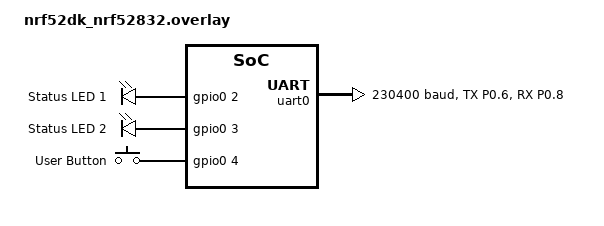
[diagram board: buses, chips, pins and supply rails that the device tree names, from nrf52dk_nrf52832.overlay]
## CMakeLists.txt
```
cmake_minimum_required(VERSION 3.20.0)
find_package(Zephyr REQUIRED HINTS $ENV{ZEPHYR_BASE})

project(Day6)

target_sources(app PRIVATE
    src/main.c
    src/nus.c
)
```

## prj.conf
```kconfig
# # Enable Bluetooth
# CONFIG_BT=y
# CONFIG_BT_PERIPHERAL=y
# CONFIG_BT_DEVICE_NAME="Day6_NUS"
# CONFIG_BT_MAX_CONN=1

# # Log
# CONFIG_LOG=y
# CONFIG_USE_SEGGER_RTT=y

# # Ring Buffer support
# CONFIG_RING_BUFFER=y

# # 增加 BLE 缓冲区和 MTU 以支持高速透传
# CONFIG_BT_L2CAP_TX_MTU=247
# CONFIG_BT_BUF_ACL_RX_SIZE=251
# CONFIG_BT_BUF_ACL_TX_SIZE=251
# CONFIG_BT_CTLR_DATA_LENGTH_MAX=251

# # 增加堆栈大小以防 WorkQueue 溢出
# CONFIG_SYSTEM_WORKQUEUE_STACK_SIZE=2048
# CONFIG_MAIN_STACK_SIZE=2048

# # 开启 GATT Client，这样设备才能主动调用 bt_gatt_exchange_mtu 发起 MTU 交换
# CONFIG_BT_GATT_CLIENT=y

# # 开启数据长度更新功能，这样才能调用 bt_conn_le_data_len_update
# CONFIG_BT_DATA_LEN_UPDATE=y
# CONFIG_BT_USER_DATA_LEN_UPDATE=y

# ================= BLE 配置 =================
CONFIG_BT=y
CONFIG_BT_PERIPHERAL=y
CONFIG_BT_DEVICE_NAME="Day7_NUS"
CONFIG_BT_MAX_CONN=1

# 启用 GATT Client 和 DLE (Data Length Extension) 以支持更高吞吐
CONFIG_BT_GATT_CLIENT=y
CONFIG_BT_DATA_LEN_UPDATE=y
CONFIG_BT_USER_DATA_LEN_UPDATE=y

# 增加 BLE 缓冲区大小 (NUS 高速传输必备)
CONFIG_BT_BUF_ACL_RX_SIZE=251
CONFIG_BT_BUF_ACL_TX_SIZE=251
CONFIG_BT_L2CAP_TX_MTU=247
CONFIG_BT_CTLR_DATA_LENGTH_MAX=251

# ================= UART & RingBuffer =================
CONFIG_RING_BUFFER=y
# 确保串口驱动开启
CONFIG_SERIAL=y
CONFIG_UART_INTERRUPT_DRIVEN=y

# ================= Log & Console 配置 (核心修改) =================
CONFIG_LOG=y

# 1. 禁用 UART 作为 Log 后端 (释放 UART 给 NUS 用)
CONFIG_LOG_BACKEND_UART=n
CONFIG_UART_CONSOLE=n

# 2. 启用 RTT 作为 Log 后端 (通过 J-Link 查看日志)
CONFIG_USE_SEGGER_RTT=y
CONFIG_LOG_BACKEND_RTT=y
CONFIG_RTT_CONSOLE=y

# ================= 系统配置 =================
# 增加 System Workqueue 堆栈，防止处理大量 NUS 数据时溢出
CONFIG_SYSTEM_WORKQUEUE_STACK_SIZE=2048
CONFIG_MAIN_STACK_SIZE=2048

# 增加到 10 或更多，可以容纳更多的小包突发
CONFIG_BT_BUF_ACL_TX_COUNT=10

# 增加 L2CAP 层面的 Buffer 数量
CONFIG_BT_L2CAP_TX_BUF_COUNT=10

CONFIG_BT_PHY_UPDATE=y
CONFIG_BT_USER_PHY_UPDATE=y

CONFIG_BT_RX_STACK_SIZE=2048
CONFIG_LOG_DEFAULT_LEVEL=0
```

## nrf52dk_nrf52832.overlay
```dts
/ {
    /* 定义 LED (保持不变) */
    my_leds {
        compatible = "gpio-leds";
        led_custom_1: led_1 {
            gpios = <&gpio0 2 GPIO_ACTIVE_HIGH>;
            label = "Status LED 1";
        };
        led_custom_2: led_2 {
            gpios = <&gpio0 3 GPIO_ACTIVE_HIGH>;
            label = "Status LED 2";
        };
    };

    /* Day 5 新增: 定义按键 */
    buttons {
        compatible = "gpio-keys";
        
        /* 
         * Button 0 (P0.04)
         * GPIO_ACTIVE_HIGH: 按下为高电平
         * GPIO_PULL_DOWN:   关键！松开时内部拉低，防止悬空
         */
        button_custom: button_0 {
            gpios = <&gpio0 4 (GPIO_ACTIVE_HIGH | GPIO_PULL_DOWN)>;
            label = "User Button";
        };
    };

    /* 修改别名 */
    aliases {
        led0 = &led_custom_1;
        led1 = &led_custom_2;
        sw0  = &button_custom; /* 将系统标准别名 sw0 映射到我们的自定义按键 */
    };
    
};
/* 强制配置 uart0 的引脚，确保与你的接线一致 */
&uart0 {
    compatible = "nordic,nrf-uarte";
    status = "okay";
    current-speed = <230400>;
    pinctrl-0 = <&uart0_default>;
    pinctrl-1 = <&uart0_sleep>;
    pinctrl-names = "default", "sleep";
};

/* 定义引脚映射: RX=P0.08, TX=P0.06 */
&pinctrl {
    uart0_default: uart0_default {
        group1 {
            psels = <NRF_PSEL(UART_TX, 0, 6)>,
                    <NRF_PSEL(UART_RX, 0, 8)>;
        };
    };

    uart0_sleep: uart0_sleep {
        group1 {
            psels = <NRF_PSEL(UART_TX, 0, 6)>,
                    <NRF_PSEL(UART_RX, 0, 8)>;
            low-power-enable;
        };
    };
};
```

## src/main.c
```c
/*
 * Day 6 Task: NUS Throughput & Ring Buffer Management
 * Author: BLE Learner
 * Environment: nRF52832, NCS v2.7.0
 */

#include <zephyr/kernel.h>
#include <zephyr/device.h>
#include <zephyr/drivers/uart.h>
#include <zephyr/drivers/gpio.h>
#include <zephyr/bluetooth/bluetooth.h>
#include <zephyr/bluetooth/hci.h>
#include <zephyr/bluetooth/conn.h>
#include <zephyr/bluetooth/uuid.h>
#include <zephyr/bluetooth/gatt.h>
#include <zephyr/sys/ring_buffer.h>
#include <zephyr/logging/log.h>

#include "nus.h"

LOG_MODULE_REGISTER(main, LOG_LEVEL_ERR);

/* ----------------配置部分---------------- */
#define UART_BUF_SIZE     8192   // UART 接收环形缓冲区大小
#define BLE_MTU_MAX       247    // 期望的 MTU 大小 (需要在 prj.conf 中同时也配置)
#define WORK_RETRY_DELAY  K_MSEC(10) // 如果 BLE 缓冲区满，多久后重试

/* ----------------硬件定义---------------- */
/* 获取 Overlay 中定义的别名 */
static const struct gpio_dt_spec led_conn = GPIO_DT_SPEC_GET(DT_ALIAS(led0), gpios);
static const struct gpio_dt_spec led_act  = GPIO_DT_SPEC_GET(DT_ALIAS(led1), gpios);

/* 获取默认 Console UART 设备 (通常是 uart0) */
/* 直接获取设备树中的 uart0 节点 */
static const struct device *uart_dev = DEVICE_DT_GET(DT_NODELABEL(uart0));

/* ----------------全局变量---------------- */
/* 定义环形缓冲区 */
RING_BUF_DECLARE(uart_ring_buf, UART_BUF_SIZE);

/* 定义处理 BLE 发送的工作项 (Delayed Work 用于重试机制) */
static struct k_work_delayable ble_tx_work;

/* 当前 BLE 连接句柄 */
static struct bt_conn *current_conn;
static uint16_t current_mtu = 23; // 默认 MTU，连接后会更新

/* ----------------函数声明---------------- */
static void uart_cb(const struct device *dev, void *user_data);
static void ble_tx_work_handler(struct k_work *work);
/* 连接参数更新回调 */
static void le_param_updated(struct bt_conn *conn, uint16_t interval,
                              uint16_t latency, uint16_t timeout)
{
    LOG_INF("Connection params updated: interval=%d, latency=%d, timeout=%d",
            interval, latency, timeout);
}
/* MTU 交换完成后的回调 */
static void exchange_func(struct bt_conn *conn, uint8_t att_err,
                          struct bt_gatt_exchange_params *params)
{
    if (!att_err) {
        /* 更新全局变量，RingBuffer 消费者将立即开始打包更多数据 */
        current_mtu = bt_gatt_get_mtu(conn);
        LOG_INF("MTU exchange successful, new MTU: %d", current_mtu);
    } else {
        LOG_ERR("MTU exchange failed (err %d)", att_err);
    }
}

/* 定义 MTU 交换参数结构体 */
static struct bt_gatt_exchange_params exchange_params = {
    .func = exchange_func,
};
/* ============================================================
 *  UART 处理逻辑 (生产者)
 * ============================================================ */

/* UART 初始化 */
static int uart_init(void)
{
    if (!device_is_ready(uart_dev)) {
        LOG_ERR("UART device not ready");
        return -1;
    }

    LOG_INF("UART device: %s", uart_dev->name);

    /* 配置中断回调 */
    uart_irq_callback_user_data_set(uart_dev, uart_cb, NULL);
    uart_irq_rx_enable(uart_dev);

    LOG_INF("UART initialized and RX interrupt enabled");

    return 0;
}

/* UART 中断回调函数 */
static void uart_cb(const struct device *dev, void *user_data)
{
    uint8_t recv_buf[64];
    int recv_len;

    uart_irq_update(dev);

    if (uart_irq_rx_ready(dev)) {
        /* 从硬件 FIFO 读取数据 */
        recv_len = uart_fifo_read(dev, recv_buf, sizeof(recv_buf));
        
        if (recv_len > 0) {
            LOG_DBG("UART RX: %d bytes", recv_len);
            
            /* 
             * 关键点：将数据放入 RingBuffer 
             * RingBuffer 是 ISR 和 WorkQueue 之间的桥梁
             */
            int written = ring_buf_put(&uart_ring_buf, recv_buf, recv_len);
            
            if (written < recv_len) {
                LOG_WRN("RingBuffer Full! Dropped %d bytes", recv_len - written);
            }

            /* 触发 System Work Queue 进行 BLE 发送处理 */
            /* 使用 k_work_schedule 如果是 delayable work */

            k_work_schedule(&ble_tx_work, K_MSEC(1)); 
            
            /* 闪烁 LED 表示有 Activity */
            gpio_pin_toggle_dt(&led_act);
        }
    }
}

/* ============================================================
 *  BLE 处理逻辑 (消费者)
 * ============================================================ */

/* 
 * 核心任务：从 RingBuffer 取数据发给 BLE
 * 包含了流控逻辑：如果 BLE 返回忙，则不消耗 Buffer，稍后重试。
 */
static void ble_tx_work_handler(struct k_work *work)
{
    uint8_t *data_ptr;
    uint32_t len;
    int err;

    if (!current_conn) {
        // 如果没有连接，丢弃缓冲区数据，防止溢出
        ring_buf_reset(&uart_ring_buf);
        return;
    }

    /* 循环处理，直到 Buffer 为空或 BLE 缓冲区满 */
    while (1) {
        /* 
         * 1. 获取 Buffer 中的数据指针（Claim），但不立即移除(Consume)
         *    这样如果发送失败，我们只需取消 Claim，数据还在 Buffer 中
         */
        len = ring_buf_get_claim(&uart_ring_buf, &data_ptr, current_mtu - 3);
        
        if (len == 0) {
            // Buffer 空了，退出任务
            ring_buf_get_finish(&uart_ring_buf, 0);
            break; 
        }

        LOG_DBG("BLE TX: sending %d bytes", len);

        /* 3. 尝试通过 BLE 发送 */
        err = my_nus_send(current_conn, data_ptr, len);

        if (err == -EAGAIN || err == -ENOMEM) {
            /* 
             * 重点流控逻辑：
             * 发送失败（资源不足），说明协议栈 Buffer 满了。
             * 1. 释放 Claim，告诉 RingBuffer 我们没消费任何数据 (size = 0)。
             * 2. 调度延时任务，稍后再试。
             */
            ring_buf_get_finish(&uart_ring_buf, 0); 
            LOG_DBG("BLE Stack Full, retrying later...");
            k_work_schedule(&ble_tx_work, WORK_RETRY_DELAY);
            break; // 跳出循环，让出 CPU
        } else if (err < 0) {
            /* 其他错误，可能是连接断开等，消费掉数据以免死循环 */
            LOG_ERR("BLE Send Error: %d", err);
            ring_buf_get_finish(&uart_ring_buf, len);
        } else {
            /* 
             * 发送成功：
             * 确认消费掉已发送的 len 长度
             */
            LOG_DBG("BLE TX: sent %d bytes successfully", len);
            ring_buf_get_finish(&uart_ring_buf, len);
        }
    }
}

/* NUS 接收到手机数据回调 */
static void nus_received_cb(struct bt_conn *conn, const uint8_t *data, uint16_t len)
{
    /* 直接透传回 UART TX */
    /* 注意：uart_poll_out 是阻塞函数，高速大量数据时建议也用 RingBuffer + TX ISR */
    /* 但对于 Day 6 任务，RX (手机到设备) 数据量通常较小，此处简化处理 */
    for (int i = 0; i < len; i++) {
        uart_poll_out(uart_dev, data[i]);
    }
    gpio_pin_toggle_dt(&led_act);
}

/* NUS 初始化结构体 */
static struct my_nus_cb nus_callbacks = {
    .received = nus_received_cb,
    .send_enabled = NULL,
};

/* ============================================================
 *  BLE 连接管理
 * ============================================================ */


static void connected(struct bt_conn *conn, uint8_t err)
{
    if (err) {
        LOG_ERR("Connection failed (err 0x%02x)", err);
        return;
    }

    LOG_INF("Connected");
    current_conn = bt_conn_ref(conn);
    gpio_pin_set_dt(&led_conn, 1);

    /* --- Day 7 新增逻辑 --- */

    /* 1. 发起 MTU 交换请求 */
    /* 注意：有些手机作为 Master 会主动发起，但作为 Slave 主动请求更保险 */
    int ret = bt_gatt_exchange_mtu(conn, &exchange_params);
    if (ret) {
        LOG_WRN("MTU exchange request failed (err %d)", ret);
    }

    /* 2. 请求切换到 2M PHY */
    /* 建议稍微延时一下再请求，避免连接建立初期的拥堵，或者直接请求也可 */
    const struct bt_conn_le_phy_param preferred_phy = {
        .options = BT_CONN_LE_PHY_OPT_NONE,
        .pref_tx_phy = BT_GAP_LE_PHY_2M,
        .pref_rx_phy = BT_GAP_LE_PHY_2M,
    };
    ret = bt_conn_le_phy_update(conn, &preferred_phy);
    if (ret) {
        LOG_WRN("PHY update request failed (err %d)", ret);
    }
}

static void disconnected(struct bt_conn *conn, uint8_t reason)
{
    LOG_INF("Disconnected (reason 0x%02x)", reason);
    if (current_conn) {
        bt_conn_unref(current_conn);
        current_conn = NULL;
    }
    gpio_pin_set_dt(&led_conn, 0); // LED 灭
}

/* 3. 在连接回调中添加参数更新回调 */
BT_CONN_CB_DEFINE(conn_callbacks) = {
    .connected = connected,
    .disconnected = disconnected,
    .le_param_updated = le_param_updated,
};

/* ============================================================
 *  主函数
 * ============================================================ */

static const struct bt_data ad[] = {
    BT_DATA_BYTES(BT_DATA_FLAGS, (BT_LE_AD_GENERAL | BT_LE_AD_NO_BREDR)),
    BT_DATA_BYTES(BT_DATA_UUID128_ALL, MY_NUS_UUID_SERVICE_VAL),
};

static const struct bt_data sd[] = {
    BT_DATA(BT_DATA_NAME_COMPLETE, CONFIG_BT_DEVICE_NAME, sizeof(CONFIG_BT_DEVICE_NAME) - 1),
};

int main(void)
{
    int err;

    /* 1. 硬件初始化 */
    if (!gpio_is_ready_dt(&led_conn) || !gpio_is_ready_dt(&led_act)) {
        return 0;
    }
    gpio_pin_configure_dt(&led_conn, GPIO_OUTPUT_INACTIVE);
    gpio_pin_configure_dt(&led_act, GPIO_OUTPUT_INACTIVE);
    
    err = uart_init();
    if (err) return 0;

    /* 初始化 WorkQueue 任务 */
    k_work_init_delayable(&ble_tx_work, ble_tx_work_handler);

    /* 2. BLE 初始化 */
    err = bt_enable(NULL);
    if (err) {
        LOG_ERR("Bluetooth init failed (err %d)", err);
        return 0;
    }
    err = my_nus_init(&nus_callbacks);
    if (err) {
        LOG_ERR("NUS init failed (err %d)", err);
        return 0;
    }

    LOG_INF("Bluetooth initialized, starting advertising...");

    /* 3. 开始广播 */
    err = bt_le_adv_start(BT_LE_ADV_CONN, ad, ARRAY_SIZE(ad), sd, ARRAY_SIZE(sd));
    if (err) {
        LOG_ERR("Advertising failed to start (err %d)", err);
        return 0;
    }

    /* 主循环空转，工作都在 ISR 和 WorkQueue 中 */
    while (1) {
        k_sleep(K_FOREVER);
    }
    return 0;
}
```

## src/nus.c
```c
/*
 * Module: My NUS Implementation
 * Description: 实现 NUS GATT 服务
 */

#include <zephyr/kernel.h>
#include <zephyr/bluetooth/bluetooth.h>
#include <zephyr/bluetooth/gatt.h>
#include <zephyr/logging/log.h>

#include "nus.h"

LOG_MODULE_REGISTER(my_nus, LOG_LEVEL_ERR);

static struct my_nus_cb nus_cb;

/* TX Characteristic (Notify) 的配置改变回调 (CCC Write) */
static void on_cccd_changed(const struct bt_gatt_attr *attr, uint16_t value)
{
    bool notif_enabled = (value == BT_GATT_CCC_NOTIFY);
    LOG_INF("NUS Notifications %s", notif_enabled ? "enabled" : "disabled");
}

/* RX Characteristic (Write) 的写入回调 */
static ssize_t on_receive_data(struct bt_conn *conn, const struct bt_gatt_attr *attr,
                               const void *buf, uint16_t len, uint16_t offset,
                               uint8_t flags)
{
    LOG_DBG("Received %d bytes", len);
    if (nus_cb.received) {
        nus_cb.received(conn, buf, len);
    }
    return len;
}

/* 
 * 定义 GATT 服务 
 * 结构：
 * 1. Primary Service 声明
 * 2. RX Characteristic (Write | Write Without Response)
 * 3. TX Characteristic (Notify) + CCC (Client Characteristic Configuration)
 */
BT_GATT_SERVICE_DEFINE(my_nus_svc,
    BT_GATT_PRIMARY_SERVICE(BT_UUID_MY_NUS_SERVICE),

    /* RX: 手机写入数据到这里 */
    BT_GATT_CHARACTERISTIC(BT_UUID_MY_NUS_RX,
                           BT_GATT_CHRC_WRITE | BT_GATT_CHRC_WRITE_WITHOUT_RESP,
                           BT_GATT_PERM_WRITE,
                           NULL, on_receive_data, NULL),

    /* TX: 设备通知数据给手机 */
    BT_GATT_CHARACTERISTIC(BT_UUID_MY_NUS_TX,
                           BT_GATT_CHRC_NOTIFY,
                           BT_GATT_PERM_NONE, 
                           NULL, NULL, NULL),
    
    /* TX 的 CCC 描述符，允许手机开启/关闭通知 */
    BT_GATT_CCC(on_cccd_changed, BT_GATT_PERM_READ | BT_GATT_PERM_WRITE),
);

int my_nus_init(struct my_nus_cb *callbacks)
{
    if (!callbacks) {
        return -EINVAL;
    }
    nus_cb = *callbacks;
    return 0;
}

int my_nus_send(struct bt_conn *conn, const uint8_t *data, uint16_t len)
{
    int err;
    
    LOG_DBG("my_nus_send: conn=%p, len=%d", (void *)conn, len);
    
    /* 使用 bt_gatt_notify_uuid 发送数据 */
    err = bt_gatt_notify_uuid(conn, BT_UUID_MY_NUS_TX, NULL, data, len);
    
    if (err) {
        LOG_ERR("bt_gatt_notify_uuid failed: %d", err);
    }
    
    return err;
}
```

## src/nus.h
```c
/*
 * Copyright (c) 2024 Learning BLE
 * Module: NUS (Nordic UART Service)
 * Description: 手动实现 NUS 服务头文件，用于声明 API 和 UUID
 */

#ifndef NUS_H_
#define NUS_H_

#include <zephyr/types.h>
#include <zephyr/bluetooth/conn.h>
#include <zephyr/bluetooth/uuid.h>
#include <zephyr/bluetooth/gatt.h>

/** @brief NUS Service UUID: 6E400001-B5A3-F393-E0A9-E50E24DCCA9E */
#define MY_NUS_UUID_SERVICE_VAL \
    BT_UUID_128_ENCODE(0x6E400001, 0xB5A3, 0xF393, 0xE0A9, 0xE50E24DCCA9E)

/** @brief NUS RX Characteristic UUID (Write): ...0002... */
#define MY_NUS_UUID_RX_VAL \
    BT_UUID_128_ENCODE(0x6E400002, 0xB5A3, 0xF393, 0xE0A9, 0xE50E24DCCA9E)

/** @brief NUS TX Characteristic UUID (Notify): ...0003... */
#define MY_NUS_UUID_TX_VAL \
    BT_UUID_128_ENCODE(0x6E400003, 0xB5A3, 0xF393, 0xE0A9, 0xE50E24DCCA9E)

#define BT_UUID_MY_NUS_SERVICE  BT_UUID_DECLARE_128(MY_NUS_UUID_SERVICE_VAL)
#define BT_UUID_MY_NUS_RX       BT_UUID_DECLARE_128(MY_NUS_UUID_RX_VAL)
#define BT_UUID_MY_NUS_TX       BT_UUID_DECLARE_128(MY_NUS_UUID_TX_VAL)

/**
 * @brief 收到数据时的回调函数定义
 * @param conn 连接句柄
 * @param data 接收到的数据指针
 * @param len 数据长度
 */
typedef void (*my_nus_received_cb_t)(struct bt_conn *conn, const uint8_t *data, uint16_t len);

/**
 * @brief NUS 初始化配置结构体
 */
struct my_nus_cb {
    my_nus_received_cb_t received;  /**< 当手机发数据给设备时调用 */
    void (*send_enabled)(void);     /**< 当手机订阅了 TX 通知时调用 (可选) */
};

/**
 * @brief 初始化 NUS 服务
 * @param callbacks 回调函数结构体
 * @return 0 成功, 负数 失败
 */
int my_nus_init(struct my_nus_cb *callbacks);

/**
 * @brief 发送数据给手机 (通过 Notify)
 * @param conn 连接对象 (NULL 则广播给所有已连接且订阅的设备，通常 NUS 是一对一)
 * @param data 数据指针
 * @param len 数据长度
 * @return 0 成功, -ENOMEM/-EAGAIN 缓冲区满
 */
int my_nus_send(struct bt_conn *conn, const uint8_t *data, uint16_t len);

#endif /* NUS_H_ */
```
